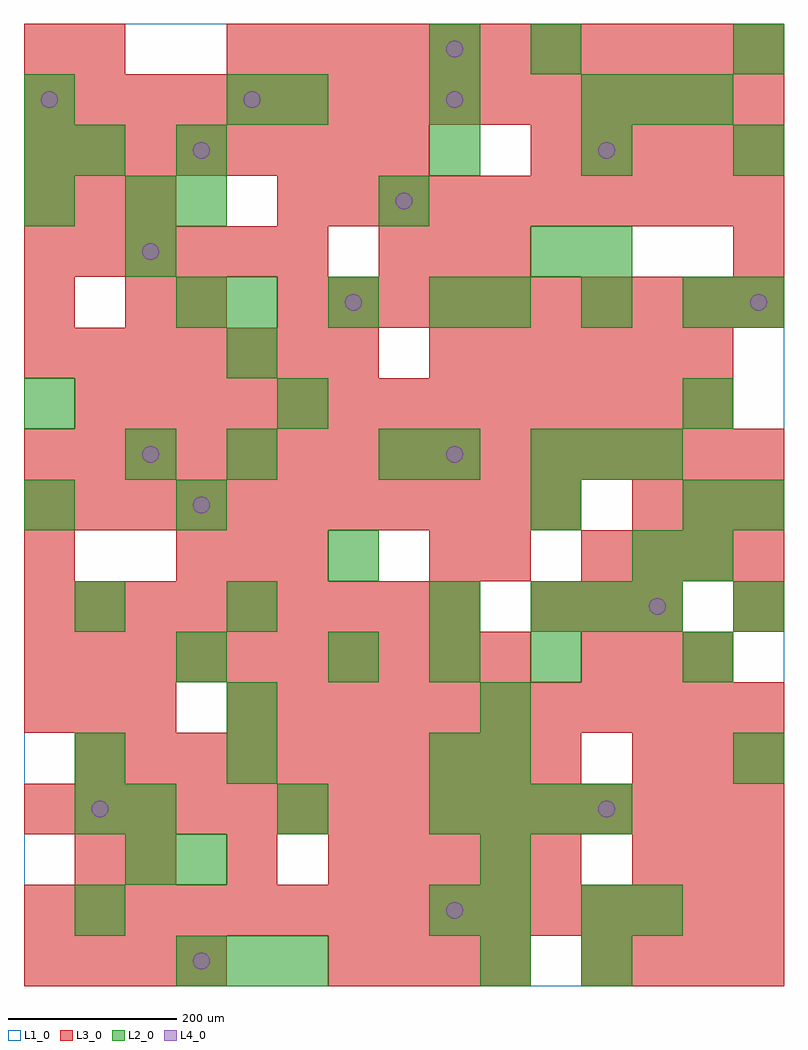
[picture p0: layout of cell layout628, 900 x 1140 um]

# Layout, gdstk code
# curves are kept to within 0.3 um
import gdstk
lib = gdstk.Library(unit=1e-6, precision=1e-09)
def R(c, l, rs):  # rectangles x0, y0, x1, y1
    for r in rs: c.add(gdstk.rectangle(r[:2], r[2:], *l))
def A(c, l, x, y, w, h, nx, ny, dx, dy):  # array of equal rectangles
    R(c, l, [(x+i*dx, y+j*dy, x+i*dx+w, y+j*dy+h) for i in range(nx) for j in range(ny)])
def P(c, l, *ps):  # polygons
    for p in ps: c.add(gdstk.Polygon(p, *l))
L1_0 = (1, 0)
L2_0 = (2, 0)
L3_0 = (3, 0)
L4_0 = (4, 0)

layout628 = lib.new_cell('layout628')
R(layout628, L1_0, [(0,0,900,1140)])
A(layout628, L2_0, 180, 0, 60, 60, 3, 1, 60, 0)
A(layout628, L2_0, 540, 0, 60, 60, 1, 3, 0, 60)
A(layout628, L2_0, 480, 60, 60, 60, 1, 4, 0, 180)
A(layout628, L2_0, 120, 180, 60, 60, 3, 1, 180, 0)
A(layout628, L2_0, 540, 180, 60, 60, 3, 1, 60, 0)
A(layout628, L2_0, 360, 360, 60, 60, 3, 1, 120, 0)
A(layout628, L2_0, 600, 420, 60, 60, 3, 2, 60, 180)
A(layout628, L2_0, 240, 780, 60, 60, 3, 1, 120, 0)
A(layout628, L2_0, 540, 780, 60, 60, 3, 1, 120, 0)
A(layout628, L2_0, 0, 900, 60, 60, 1, 3, 0, 60)
A(layout628, L2_0, 480, 960, 60, 60, 3, 1, 180, 0)
A(layout628, L2_0, 300, 1020, 60, 60, 3, 1, 180, 0)
R(layout628, L2_0, [(660,0,720,60), (60,60,120,120), (660,60,720,120), (720,60,780,120), (120,120,180,180), (180,120,240,180), (60,180,120,240), (60,240,120,300), (240,240,300,300), (540,240,600,300), (840,240,900,300), (240,300,300,360), (540,300,600,360), (180,360,240,420), (780,360,840,420), (60,420,120,480), (240,420,300,480), (840,420,900,480), (360,480,420,540), (720,480,780,540), (780,480,840,540), (0,540,60,600), (180,540,240,600), (600,540,660,600), (780,540,840,600), (840,540,900,600), (120,600,180,660), (240,600,300,660), (420,600,480,660), (0,660,60,720), (300,660,360,720), (780,660,840,720), (240,720,300,780), (180,780,240,840), (840,780,900,840), (120,840,180,900), (600,840,660,900), (660,840,720,900), (120,900,180,960), (180,900,240,960), (420,900,480,960), (60,960,120,1020), (180,960,240,1020), (240,1020,300,1080), (720,1020,780,1080), (780,1020,840,1080), (480,1080,540,1140), (600,1080,660,1140), (840,1080,900,1140)])
A(layout628, L3_0, 0, 0, 60, 60, 4, 1, 60, 0)
A(layout628, L3_0, 360, 0, 60, 60, 4, 1, 60, 0)
A(layout628, L3_0, 660, 0, 60, 60, 4, 2, 60, 480)
A(layout628, L3_0, 0, 60, 60, 60, 15, 2, 60, 120)
A(layout628, L3_0, 120, 120, 60, 60, 3, 1, 120, 0)
A(layout628, L3_0, 420, 120, 60, 60, 4, 1, 60, 0)
A(layout628, L3_0, 720, 120, 60, 60, 3, 2, 60, 120)
A(layout628, L3_0, 60, 240, 60, 60, 10, 1, 60, 0)
A(layout628, L3_0, 0, 300, 60, 60, 3, 2, 60, 600)
A(layout628, L3_0, 240, 300, 60, 60, 11, 2, 60, 780)
A(layout628, L3_0, 0, 360, 60, 60, 10, 1, 60, 0)
A(layout628, L3_0, 660, 360, 60, 60, 3, 1, 60, 0)
A(layout628, L3_0, 0, 420, 60, 60, 9, 1, 60, 0)
A(layout628, L3_0, 600, 420, 60, 60, 3, 1, 60, 0)
A(layout628, L3_0, 0, 480, 60, 60, 1, 3, 0, 300)
A(layout628, L3_0, 180, 480, 60, 60, 3, 1, 60, 0)
A(layout628, L3_0, 0, 540, 60, 60, 11, 1, 60, 0)
A(layout628, L3_0, 720, 540, 60, 60, 3, 1, 60, 0)
A(layout628, L3_0, 0, 600, 60, 60, 15, 2, 60, 420)
A(layout628, L3_0, 60, 660, 60, 60, 13, 1, 60, 0)
A(layout628, L3_0, 0, 720, 60, 60, 7, 1, 60, 0)
A(layout628, L3_0, 480, 720, 60, 60, 6, 1, 60, 0)
A(layout628, L3_0, 300, 780, 60, 60, 10, 2, 60, 120)
A(layout628, L3_0, 0, 840, 60, 60, 6, 1, 60, 0)
A(layout628, L3_0, 420, 840, 60, 60, 3, 1, 60, 0)
A(layout628, L3_0, 0, 960, 60, 60, 8, 1, 60, 0)
A(layout628, L3_0, 600, 960, 60, 60, 5, 1, 60, 0)
R(layout628, L3_0, [(60,120,120,180), (840,420,900,480), (480,480,540,540), (540,480,600,540), (120,780,180,840), (180,780,240,840), (840,840,900,900), (60,1080,120,1140)])
P(layout628, L4_0, [(40,1050),(39.239,1053.827),(37.071,1057.071),(33.827,1059.239),(30,1060),(26.173,1059.239),(22.929,1057.071),(20.761,1053.827),(20,1050),(20.761,1046.173),(22.929,1042.929),(26.173,1040.761),(30,1040),(33.827,1040.761),(37.071,1042.929),(39.239,1046.173)],
  [(100,210),(99.239,213.827),(97.071,217.071),(93.827,219.239),(90,220),(86.173,219.239),(82.929,217.071),(80.761,213.827),(80,210),(80.761,206.173),(82.929,202.929),(86.173,200.761),(90,200),(93.827,200.761),(97.071,202.929),(99.239,206.173)],
  [(160,630),(159.239,633.827),(157.071,637.071),(153.827,639.239),(150,640),(146.173,639.239),(142.929,637.071),(140.761,633.827),(140,630),(140.761,626.173),(142.929,622.929),(146.173,620.761),(150,620),(153.827,620.761),(157.071,622.929),(159.239,626.173)],
  [(160,870),(159.239,873.827),(157.071,877.071),(153.827,879.239),(150,880),(146.173,879.239),(142.929,877.071),(140.761,873.827),(140,870),(140.761,866.173),(142.929,862.929),(146.173,860.761),(150,860),(153.827,860.761),(157.071,862.929),(159.239,866.173)],
  [(220,30),(219.239,33.827),(217.071,37.071),(213.827,39.239),(210,40),(206.173,39.239),(202.929,37.071),(200.761,33.827),(200,30),(200.761,26.173),(202.929,22.929),(206.173,20.761),(210,20),(213.827,20.761),(217.071,22.929),(219.239,26.173)],
  [(220,570),(219.239,573.827),(217.071,577.071),(213.827,579.239),(210,580),(206.173,579.239),(202.929,577.071),(200.761,573.827),(200,570),(200.761,566.173),(202.929,562.929),(206.173,560.761),(210,560),(213.827,560.761),(217.071,562.929),(219.239,566.173)],
  [(220,990),(219.239,993.827),(217.071,997.071),(213.827,999.239),(210,1000),(206.173,999.239),(202.929,997.071),(200.761,993.827),(200,990),(200.761,986.173),(202.929,982.929),(206.173,980.761),(210,980),(213.827,980.761),(217.071,982.929),(219.239,986.173)],
  [(280,1050),(279.239,1053.827),(277.071,1057.071),(273.827,1059.239),(270,1060),(266.173,1059.239),(262.929,1057.071),(260.761,1053.827),(260,1050),(260.761,1046.173),(262.929,1042.929),(266.173,1040.761),(270,1040),(273.827,1040.761),(277.071,1042.929),(279.239,1046.173)],
  [(400,810),(399.239,813.827),(397.071,817.071),(393.827,819.239),(390,820),(386.173,819.239),(382.929,817.071),(380.761,813.827),(380,810),(380.761,806.173),(382.929,802.929),(386.173,800.761),(390,800),(393.827,800.761),(397.071,802.929),(399.239,806.173)],
  [(460,930),(459.239,933.827),(457.071,937.071),(453.827,939.239),(450,940),(446.173,939.239),(442.929,937.071),(440.761,933.827),(440,930),(440.761,926.173),(442.929,922.929),(446.173,920.761),(450,920),(453.827,920.761),(457.071,922.929),(459.239,926.173)],
  [(520,90),(519.239,93.827),(517.071,97.071),(513.827,99.239),(510,100),(506.173,99.239),(502.929,97.071),(500.761,93.827),(500,90),(500.761,86.173),(502.929,82.929),(506.173,80.761),(510,80),(513.827,80.761),(517.071,82.929),(519.239,86.173)],
  [(520,630),(519.239,633.827),(517.071,637.071),(513.827,639.239),(510,640),(506.173,639.239),(502.929,637.071),(500.761,633.827),(500,630),(500.761,626.173),(502.929,622.929),(506.173,620.761),(510,620),(513.827,620.761),(517.071,622.929),(519.239,626.173)],
  [(520,1050),(519.239,1053.827),(517.071,1057.071),(513.827,1059.239),(510,1060),(506.173,1059.239),(502.929,1057.071),(500.761,1053.827),(500,1050),(500.761,1046.173),(502.929,1042.929),(506.173,1040.761),(510,1040),(513.827,1040.761),(517.071,1042.929),(519.239,1046.173)],
  [(520,1110),(519.239,1113.827),(517.071,1117.071),(513.827,1119.239),(510,1120),(506.173,1119.239),(502.929,1117.071),(500.761,1113.827),(500,1110),(500.761,1106.173),(502.929,1102.929),(506.173,1100.761),(510,1100),(513.827,1100.761),(517.071,1102.929),(519.239,1106.173)],
  [(700,210),(699.239,213.827),(697.071,217.071),(693.827,219.239),(690,220),(686.173,219.239),(682.929,217.071),(680.761,213.827),(680,210),(680.761,206.173),(682.929,202.929),(686.173,200.761),(690,200),(693.827,200.761),(697.071,202.929),(699.239,206.173)],
  [(700,990),(699.239,993.827),(697.071,997.071),(693.827,999.239),(690,1000),(686.173,999.239),(682.929,997.071),(680.761,993.827),(680,990),(680.761,986.173),(682.929,982.929),(686.173,980.761),(690,980),(693.827,980.761),(697.071,982.929),(699.239,986.173)],
  [(760,450),(759.239,453.827),(757.071,457.071),(753.827,459.239),(750,460),(746.173,459.239),(742.929,457.071),(740.761,453.827),(740,450),(740.761,446.173),(742.929,442.929),(746.173,440.761),(750,440),(753.827,440.761),(757.071,442.929),(759.239,446.173)],
  [(880,810),(879.239,813.827),(877.071,817.071),(873.827,819.239),(870,820),(866.173,819.239),(862.929,817.071),(860.761,813.827),(860,810),(860.761,806.173),(862.929,802.929),(866.173,800.761),(870,800),(873.827,800.761),(877.071,802.929),(879.239,806.173)])

lib.write_gds('layout628.gds')
